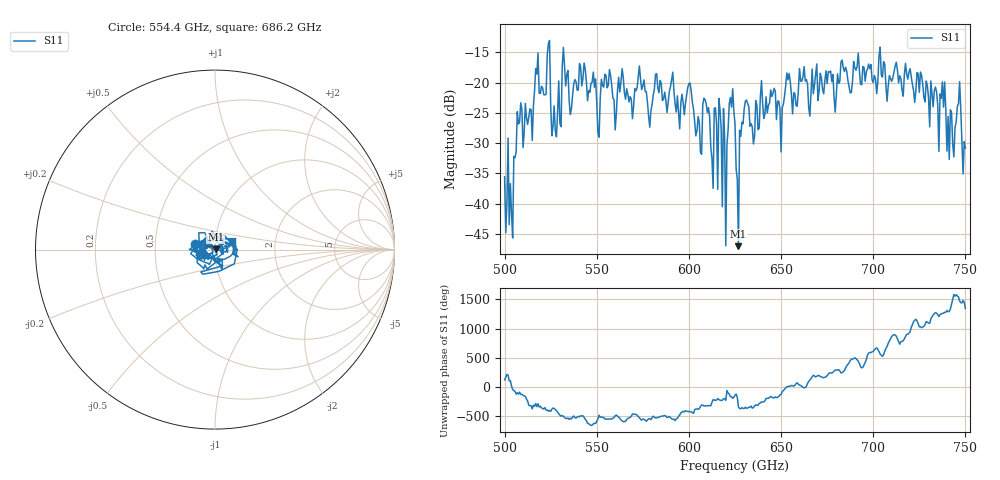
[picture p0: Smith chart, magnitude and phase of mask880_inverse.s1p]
!Created with skrf (http://scikit-rf.org).
# GHz S MA R 50.0
!freq magS11 angS11
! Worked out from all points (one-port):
!   401 points, 500 GHz to 750 GHz, reference 50 ohm
!   lowest |S11| = -47.0 dB at 626.9 GHz (marker M1), VSWR 1.01, Z = 50.4 + j0.108 ohm
!   |S11| at or under -10 dB: start of sweep to end of sweep
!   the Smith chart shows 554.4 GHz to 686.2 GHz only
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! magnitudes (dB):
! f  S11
! 500 GHz  -35.6
! 503.8 GHz  -41.6
! 508.1 GHz  -26.6
! 513.8 GHz  -24.3
! 517.5 GHz  -18.6
! 523.8 GHz  -13.6
! 526.9 GHz  -23.8
! 531.2 GHz  -17.4
! 541.9 GHz  -20.6
! 551.2 GHz  -29.0
! 562.5 GHz  -21.6
! 593.8 GHz  -22.2
! 600 GHz  -20.2
! 605.6 GHz  -26.5
! 609.4 GHz  -23.5
! 619.4 GHz  -29.0
! 622.5 GHz  -22.5
! 625 GHz  -26.8
! 626.9 GHz  -47.0
! 631.2 GHz  -22.9
! 634.4 GHz  -27.3
! 656.2 GHz  -25.2
! 687.5 GHz  -21.7
! 718.8 GHz  -19.4
! 737.5 GHz  -19.9
! 742.5 GHz  -25.0
! 746.2 GHz  -23.5
! 750 GHz  -30.8
